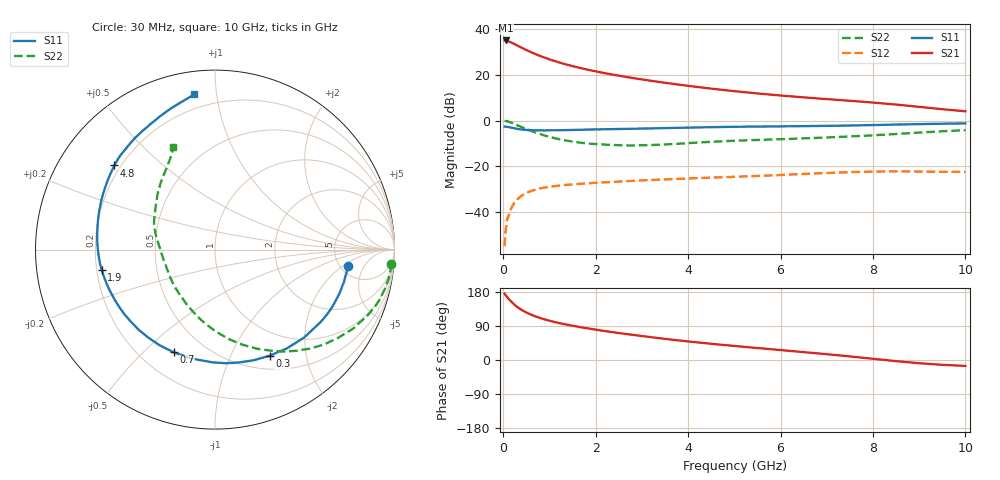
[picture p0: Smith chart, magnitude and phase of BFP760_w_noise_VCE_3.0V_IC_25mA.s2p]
! Infineon Technologies  Discrete & RF Semiconductors
! BFP760
! VCE =  3.0 V,  IC =  25 mA
! Common Emitter S-Parameters:  Nov 2012
# GHz  S  MA  R  50
!  f  S11  S21  S12  S22
! GHz  MAG  ANG  MAG  ANG  MAG  ANG  MAG  ANG
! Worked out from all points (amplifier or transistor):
!   99 points, 30 MHz to 10 GHz, reference 50 ohm
!   highest |S21| = 35.1 dB at 50 MHz (marker M1)
!   |S21| within 3 dB of that: start of sweep to 381.4 MHz
!   unconditionally stable (mu >= 1): 4.446 GHz to end of sweep
!   at 350 MHz: K = 0.24, MSG = 33.0 dB, |S12| = -33.6 dB
!   at 3.5 GHz: K = 0.90, MSG = 21.2 dB, |S12| = -25.7 dB
!   at 10 GHz: K = 1.08, MAG = 11.5 dB, |S12| = -22.4 dB
!   lowest NFmin = 0.68 dB at 900 MHz
!   S11 on the Smith chart (normalised r, x): 30 MHz: 5.78, -2.42; 300 MHz: 0.67, -1.42; 700 MHz: 0.34, -0.62; 1.9 GHz: 0.22, -0.08; 4.8 GHz: 0.18, +0.35; 10 GHz: 0.12, +0.87
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0.03  0.7443 -7.2  56.84 175.1  0.0018 88.0  0.9851 -4.6
0.05  0.7414 -11.9  57 171.4  0.0037 77.9  0.9826 -7.8
0.1  0.7294 -23.5  55.12 163.9  0.0079 79.2  0.9619 -15.8
0.15  0.7135 -34.5  52.71 157.0  0.0107 72.7  0.9272 -23.1
0.2  0.6975 -44.7  49.96 150.8  0.0137 68.7  0.8863 -29.8
0.3  0.6647 -62.8  44.49 140.3  0.0188 62.2  0.8027 -41.4
0.4  0.6426 -78.3  39.51 132.0  0.0229 56.0  0.7238 -51.1
0.5  0.6285 -91.2  35.21 125.4  0.0262 51.4  0.657 -59.5
0.6  0.621 -102.3  31.64 119.8  0.029 48.0  0.6002 -67.0
0.7  0.6165 -111.9  28.63 115.0  0.031 44.7  0.5514 -73.9
0.9  0.6153 -127.4  23.9 107.0  0.0345 39.8  0.4739 -86.2
1.1  0.6174 -139.5  20.39 100.6  0.0369 36.4  0.4179 -96.9
1.4  0.6248 -153.2  16.62 92.7  0.0397 33.1  0.3628 -110.8
1.7  0.634 -164.0  13.99 86.0  0.0419 31.2  0.3275 -123.2
1.9  0.6413 -170.0  12.63 82.1  0.0432 30.2  0.3131 -131.0
2.6  0.6611 173.2  9.293 69.6  0.0472 28.1  0.2893 -154.3
3.4  0.6859 158.4  6.996 57.3  0.0515 26.6  0.2994 -176.1
4.8  0.7306 140.1  4.659 39.3  0.0583 24.5  0.3567 160.7
5.1  0.7382 137.4  4.331 36.0  0.0598 24.2  0.3676 157.4
6.7  0.7661 125.2  3.13 18.7  0.0698 21.0  0.4182 141.6
8.5  0.8239 107.4  2.255 -3.0  0.0779 11.3  0.5116 123.3
10  0.8737 97.6  1.606 -15.6  0.0761 7.0  0.6205 112.3
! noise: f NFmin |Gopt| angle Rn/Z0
0.9  0.68  0.13  -170  0.1
1.8  0.74  0.15  -159  0.07
2.4  0.78  0.16  -149  0.08
3.5  0.91  0.17  -140  0.09
5.5  1.12  0.26  -110  0.19
8  1.42  0.38  -78  0.37
